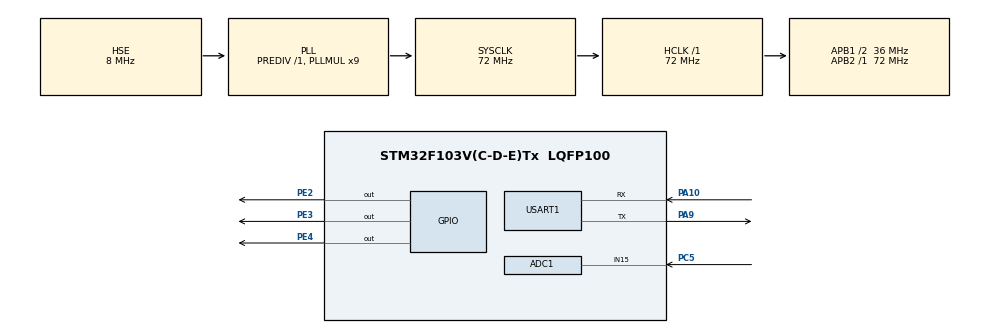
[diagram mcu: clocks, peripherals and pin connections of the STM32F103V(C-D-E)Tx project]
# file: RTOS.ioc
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ADC1.Channel-0\#ChannelRegularConversion=ADC_CHANNEL_15
ADC1.ContinuousConvMode=ENABLE
ADC1.NbrOfConversionFlag=1
ADC1.Rank-0\#ChannelRegularConversion=1
ADC1.SamplingTime-0\#ChannelRegularConversion=ADC_SAMPLETIME_1CYCLE_5
ADC1.master=1
Dma.ADC1.0.Direction=DMA_PERIPH_TO_MEMORY
Dma.ADC1.0.Instance=DMA1_Channel1
Dma.ADC1.0.MemDataAlignment=DMA_MDATAALIGN_WORD
Dma.ADC1.0.MemInc=DMA_MINC_ENABLE
Dma.ADC1.0.Mode=DMA_NORMAL
Dma.ADC1.0.PeriphDataAlignment=DMA_PDATAALIGN_WORD
Dma.ADC1.0.PeriphInc=DMA_PINC_DISABLE
Dma.ADC1.0.Priority=DMA_PRIORITY_LOW
Dma.Request0=ADC1
FREERTOS.Tasks01=BlinkLED1,24,128,LED1,Default,NULL,Dynamic,NULL,NULL;BlinkLED2,8,128,LED2,Default,NULL,Dynamic,NULL,NULL;SendCds1,8,128,CDS1,Default,NULL,Dynamic,NULL,NULL
Mcu.Family=STM32F1
Mcu.Name=STM32F103V(C-D-E)Tx
Mcu.Package=LQFP100
NVIC.DMA1_Channel1_IRQn=true\:5\:0\:false\:false\:true\:true\:false\:true
NVIC.PriorityGroup=NVIC_PRIORITYGROUP_4
NVIC.TIM6_IRQn=true\:0\:0\:false\:false\:true\:false\:false\:true
NVIC.TimeBase=TIM6_IRQn
NVIC.TimeBaseIP=TIM6
NVIC.USART1_IRQn=true\:5\:0\:false\:false\:true\:true\:true\:true
OSC_IN.Mode=HSE-External-Oscillator
OSC_IN.Signal=RCC_OSC_IN
OSC_OUT.Mode=HSE-External-Oscillator
OSC_OUT.Signal=RCC_OSC_OUT
PA10.Mode=Asynchronous
PA10.Signal=USART1_RX
PA9.Mode=Asynchronous
PA9.Signal=USART1_TX
PC5.Signal=ADCx_IN15
PE2.GPIO_PuPd=GPIO_PULLUP
PE2.Signal=GPIO_Output
PE3.GPIO_PuPd=GPIO_PULLUP
PE3.Signal=GPIO_Output
PE4.GPIO_PuPd=GPIO_PULLUP
PE4.Signal=GPIO_Output
ProjectManager.HeapSize=0x200
ProjectManager.StackSize=0x400
ProjectManager.TargetToolchain=STM32CubeIDE
RCC.ADCPresc=RCC_ADCPCLK2_DIV6
RCC.AHBFreq_Value=72000000
RCC.APB1CLKDivider=RCC_HCLK_DIV2
RCC.APB1Freq_Value=36000000
RCC.APB1TimFreq_Value=72000000
RCC.APB2Freq_Value=72000000
RCC.APB2TimFreq_Value=72000000
RCC.HCLKFreq_Value=72000000
RCC.PLLMUL=RCC_PLL_MUL9
RCC.PLLSourceVirtual=RCC_PLLSOURCE_HSE
RCC.SYSCLKFreq_VALUE=72000000
RCC.SYSCLKSource=RCC_SYSCLKSOURCE_PLLCLK
RCC.USBFreq_Value=72000000
SH.ADCx_IN15.0=ADC1_IN15,IN15
USART1.VirtualMode=VM_ASYNC
VP_FREERTOS_VS_CMSIS_V2.Mode=CMSIS_V2
VP_SYS_VS_ND.Mode=No_Debug
VP_SYS_VS_tim6.Mode=TIM6
board=custom

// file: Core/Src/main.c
/* USER CODE BEGIN Header */
/**
  ******************************************************************************
  * @file           : main.c
  * @brief          : Main program body
  ******************************************************************************
  * @attention
  *
  * <h2><center>&copy; Copyright (c) 2021 STMicroelectronics.
  * All rights reserved.</center></h2>
  *
  * This software component is licensed by ST under Ultimate Liberty license
  * SLA0044, the "License"; You may not use this file except in compliance with
  * the License. You may obtain a copy of the License at:
  *                             www.st.com/SLA0044
  *
  ******************************************************************************
  */
/* USER CODE END Header */
#include "main.h"
#include "cmsis_os.h"
#include "adc.h"
#include "dma.h"
#include "usart.h"
#include "gpio.h"
#include <stdio.h>

void SystemClock_Config(void);
void MX_FREERTOS_Init(void);

/* USER CODE BEGIN 0 */
int _write(int file, unsigned char* p, int len)
{
   HAL_UART_Transmit(&huart1, p, len, 10);
   return len;
}
#ifdef __GNUC__
#define PUTCHAR_PROTOTYPE int __io_putchar(int ch)
#else
#define PUTCHAR_PROTOTYPE int fputc(int ch, FILE *f)  //for printf
#endif
PUTCHAR_PROTOTYPE
{

  HAL_UART_Transmit(&huart1, (uint8_t *)&ch, 1, 0xFFFF);
  return ch;
}

/* USER CODE END 0 */

int main(void)
{

  /* MCU Configuration--------------------------------------------------------*/

  /* Reset of all peripherals, Initializes the Flash interface and the Systick. */
  HAL_Init();

  /* Configure the system clock */
  SystemClock_Config();

  /* Initialize all configured peripherals */
  MX_GPIO_Init();
  MX_DMA_Init();
  MX_ADC1_Init();
  MX_USART1_UART_Init();

  /* Init scheduler */
  osKernelInitialize();  /* Call init function for freertos objects (in freertos.c) */
  MX_FREERTOS_Init();
  /* Start scheduler */
  osKernelStart();

  /* We should never get here as control is now taken by the scheduler */
  /* Infinite loop */
  /* USER CODE BEGIN WHILE */
  printf("start program..\n");
  HAL_GPIO_WritePin(GPIOE, GPIO_PIN_2 | GPIO_PIN_3, GPIO_PIN_RESET);

  while (1)
  {
    /* USER CODE END WHILE */

    /* USER CODE BEGIN 3 */
	  // LED blink, send cds value source code in freertos
  }
  /* USER CODE END 3 */
}

void SystemClock_Config(void)
{
  RCC_OscInitTypeDef RCC_OscInitStruct = {0};
  RCC_ClkInitTypeDef RCC_ClkInitStruct = {0};
  RCC_PeriphCLKInitTypeDef PeriphClkInit = {0};

  /** Initializes the RCC Oscillators according to the specified parameters
  * in the RCC_OscInitTypeDef structure.
  */
  RCC_OscInitStruct.OscillatorType = RCC_OSCILLATORTYPE_HSE;
  RCC_OscInitStruct.HSEState = RCC_HSE_ON;
  RCC_OscInitStruct.HSEPredivValue = RCC_HSE_PREDIV_DIV1;
  RCC_OscInitStruct.HSIState = RCC_HSI_ON;
  RCC_OscInitStruct.PLL.PLLState = RCC_PLL_ON;
  RCC_OscInitStruct.PLL.PLLSource = RCC_PLLSOURCE_HSE;
  RCC_OscInitStruct.PLL.PLLMUL = RCC_PLL_MUL9;
  if (HAL_RCC_OscConfig(&RCC_OscInitStruct) != HAL_OK)
  {
    Error_Handler();
  }
  /** Initializes the CPU, AHB and APB buses clocks
  */
  RCC_ClkInitStruct.ClockType = RCC_CLOCKTYPE_HCLK|RCC_CLOCKTYPE_SYSCLK
                              |RCC_CLOCKTYPE_PCLK1|RCC_CLOCKTYPE_PCLK2;
  RCC_ClkInitStruct.SYSCLKSource = RCC_SYSCLKSOURCE_PLLCLK;
  RCC_ClkInitStruct.AHBCLKDivider = RCC_SYSCLK_DIV1;
  RCC_ClkInitStruct.APB1CLKDivider = RCC_HCLK_DIV2;
  RCC_ClkInitStruct.APB2CLKDivider = RCC_HCLK_DIV1;

  if (HAL_RCC_ClockConfig(&RCC_ClkInitStruct, FLASH_LATENCY_2) != HAL_OK)
  {
    Error_Handler();
  }
  PeriphClkInit.PeriphClockSelection = RCC_PERIPHCLK_ADC;
  PeriphClkInit.AdcClockSelection = RCC_ADCPCLK2_DIV6;
  if (HAL_RCCEx_PeriphCLKConfig(&PeriphClkInit) != HAL_OK)
  {
    Error_Handler();
  }
}

 /**
  * @brief  Period elapsed callback in non blocking mode
  * @note   This function is called  when TIM6 interrupt took place, inside
  * HAL_TIM_IRQHandler(). It makes a direct call to HAL_IncTick() to increment
  * a global variable "uwTick" used as application time base.
  * @param  htim : TIM handle
  * @retval None
  */
void HAL_TIM_PeriodElapsedCallback(TIM_HandleTypeDef *htim)
{
  if (htim->Instance == TIM6) {
    HAL_IncTick();
  }
}

void Error_Handler(void)
{
  __disable_irq();
  while (1)
  {
  }
}

/************************ (C) COPYRIGHT STMicroelectronics *****END OF FILE****/

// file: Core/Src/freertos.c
/* USER CODE BEGIN Header */
/**
  ******************************************************************************
  * File Name          : freertos.c
  * Description        : Code for freertos applications
  ******************************************************************************
  * @attention
  *
  * <h2><center>&copy; Copyright (c) 2021 STMicroelectronics.
  * All rights reserved.</center></h2>
  *
  * This software component is licensed by ST under Ultimate Liberty license
  * SLA0044, the "License"; You may not use this file except in compliance with
  * the License. You may obtain a copy of the License at:
  *                             www.st.com/SLA0044
  *
  ******************************************************************************
  */
/* USER CODE END Header */

#include "FreeRTOS.h"
#include "task.h"
#include "main.h"
#include "cmsis_os.h"
#include <stdio.h>

#include "adc.h"
#include "dma.h"
#include "usart.h"
#include "gpio.h"

/* Definitions for BlinkLED1 */
osThreadId_t BlinkLED1Handle;
const osThreadAttr_t BlinkLED1_attributes = {
  .name = "BlinkLED1",
  .stack_size = 128 * 4,
  .priority = (osPriority_t) osPriorityNormal,
};
/* Definitions for BlinkLED2 */
osThreadId_t BlinkLED2Handle;
const osThreadAttr_t BlinkLED2_attributes = {
  .name = "BlinkLED2",
  .stack_size = 128 * 4,
  .priority = (osPriority_t) osPriorityLow,
};
/* Definitions for SendCds1 */
osThreadId_t SendCds1Handle;
const osThreadAttr_t SendCds1_attributes = {
  .name = "SendCds1",
  .stack_size = 128 * 4,
  .priority = (osPriority_t) osPriorityLow,
};

void LED1(void *argument);
void LED2(void *argument);
void CDS1(void *argument);

void MX_FREERTOS_Init(void); /* (MISRA C 2004 rule 8.1) */

void MX_FREERTOS_Init(void) {

  /* Create the thread(s) */
  /* creation of BlinkLED1 */
  BlinkLED1Handle = osThreadNew(LED1, NULL, &BlinkLED1_attributes);

  /* creation of BlinkLED2 */
  BlinkLED2Handle = osThreadNew(LED2, NULL, &BlinkLED2_attributes);

  /* creation of SendCds1 */
  SendCds1Handle = osThreadNew(CDS1, NULL, &SendCds1_attributes);

}

void LED1(void *argument)
{
  /* USER CODE BEGIN LED1 */
  /* Infinite loop */
  for(;;)
  {
	  HAL_GPIO_TogglePin(GPIOE, GPIO_PIN_2);
    osDelay(300);
  }
  /* USER CODE END LED1 */
}

void LED2(void *argument)
{
  /* USER CODE BEGIN LED2 */
  /* Infinite loop */
  for(;;)
  {
	  HAL_GPIO_TogglePin(GPIOE, GPIO_PIN_3);
    osDelay(500);
  }
  /* USER CODE END LED2 */
}

void CDS1(void *argument)
{
  /* USER CODE BEGIN CDS1 */
	// IN15
	uint32_t ADC_Value_32[1]={0};
	uint16_t ADC_Value_16;

	HAL_ADC_Start_DMA(&hadc1, ADC_Value_32, 1);

  /* Infinite loop */
  for(;;)
  {
	  ADC_Value_16=(uint16_t)ADC_Value_32[0];
	  ADC_Value_16 &= 0xFFF;

	  printf("\n ADC Value=%d", ADC_Value_16);
	  HAL_ADC_Start_DMA(&hadc1, ADC_Value_32, 1);

	  osDelay(1000);

  }
  /* USER CODE END CDS1 */
}

/************************ (C) COPYRIGHT STMicroelectronics *****END OF FILE****/
